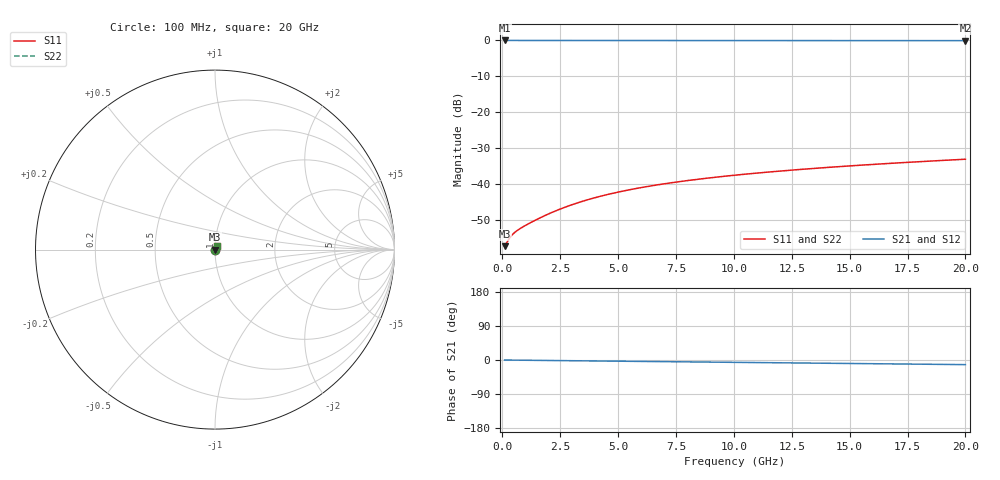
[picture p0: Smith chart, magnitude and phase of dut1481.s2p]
! Touchstone file exported from HFSS 2026.1.0
!  File:  C:/ffzhzh/LocalFiles/Ansys_Project_Files/temp_train_BSMRDL_1481_1783181307_43440.aedt
!  Generated:  12:09:35 AM Jul  5, 2026
!  Design:  BSMRDL
!  Project:  temp_train_BSMRDL_1481_1783181307_43440
! Variables:
!  h_bsmrdl = 3.88um
!  h_ox = 20um
!  h_rdl = 5um
!  h_sub = 80um
!  h_tmrdl = 5um
!  h_tsv = 80um
!  h_via = 3um
!  l_bsmrdl = 210.72um
!  l_sub = 610.72um
!  l_tmrdl = 200um
!  m_sub = 200um
!  pitch = 21.77um
!  r_tsv = 6um
!  s_tmrdl = 10um
!  w_bsmrdl = 17.16um
!  w_sub = 500um
!  w_tmrdl = 12um
!  x_tsv_center1 = 206um
!  x_tsv_center2 = 433.88um
!  x_tsv_center3 = 645.88um
!  x_tsv_center4 = 873.76um
!  x_tsv_center5 = 1085.76um
!  x_tsv_center6 = 1313.64um
# GHz S MA R 50.000000
! Terminal data exported
! Port[1] = BSM_RDL1_1_T1
! Port[2] = BSM_RDL1_1_T2
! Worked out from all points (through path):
!   200 points, 100 MHz to 20 GHz, reference 50 ohm
!   highest |S21| = -0.01 dB at 100 MHz (marker M1); lowest = -0.1 dB at 20 GHz (marker M2)
!   group delay of S21, straight-line fit = 1.69 ps
!   lowest |S11| = -57.4 dB at 100 MHz (marker M3), VSWR 1.00, Z = 50.1 + j0.0317 ohm
!   |S11| at or under -10 dB: start of sweep to end of sweep
!   |S22| runs from -57.4 to -33.1 dB; largest |S21 - S12| = 4.1e-15
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0.1  0.001355 13.5  0.9987 -0.1  0.9987 -0.1  0.001355 13.5
! Gamma 0 0 0 0
! Port Impedance 50 0 50 0
0.3  0.001731 27.4  0.9985 -0.2  0.9985 -0.2  0.001731 27.4
0.4  0.001905 30.4  0.9984 -0.3  0.9984 -0.3  0.001905 30.4
0.5  0.002055 32.5  0.9983 -0.3  0.9983 -0.3  0.002055 32.5
0.6  0.002186 34.4  0.9982 -0.4  0.9982 -0.4  0.002186 34.4
0.7  0.002305 36.2  0.9981 -0.5  0.9981 -0.5  0.002305 36.2
0.9  0.002528 39.6  0.9981 -0.6  0.9981 -0.6  0.002528 39.6
1.5  0.003206 48.3  0.9979 -1.0  0.9979 -1.0  0.003206 48.3
1.9  0.003694 52.5  0.9978 -1.2  0.9978 -1.2  0.003694 52.5
2.2  0.004074 54.9  0.9977 -1.4  0.9977 -1.4  0.004074 54.9
2.8  0.004854 58.2  0.9976 -1.8  0.9976 -1.8  0.004854 58.2
3.5  0.005772 60.5  0.9973 -2.2  0.9973 -2.2  0.005772 60.5
4.2  0.006678 61.7  0.9971 -2.7  0.9971 -2.7  0.006678 61.7
5  0.007685 62.4  0.9968 -3.2  0.9968 -3.2  0.007685 62.4
5.9  0.008773 62.6  0.9964 -3.7  0.9964 -3.7  0.008773 62.6
6.8  0.009814 62.5  0.9961 -4.3  0.9961 -4.3  0.009814 62.5
8.3  0.01145 62.1  0.9955 -5.2  0.9955 -5.2  0.01145 62.2
10.1  0.01328 61.5  0.9949 -6.3  0.9949 -6.3  0.01328 61.5
11.7  0.01482 61.0  0.9944 -7.2  0.9944 -7.2  0.01482 61.0
13.4  0.01639 60.4  0.9939 -8.3  0.9939 -8.3  0.01639 60.4
16.7  0.01929 59.2  0.993 -10.2  0.993 -10.2  0.01929 59.2
20  0.02207 58.0  0.9923 -12.2  0.9923 -12.2  0.02207 58.0
